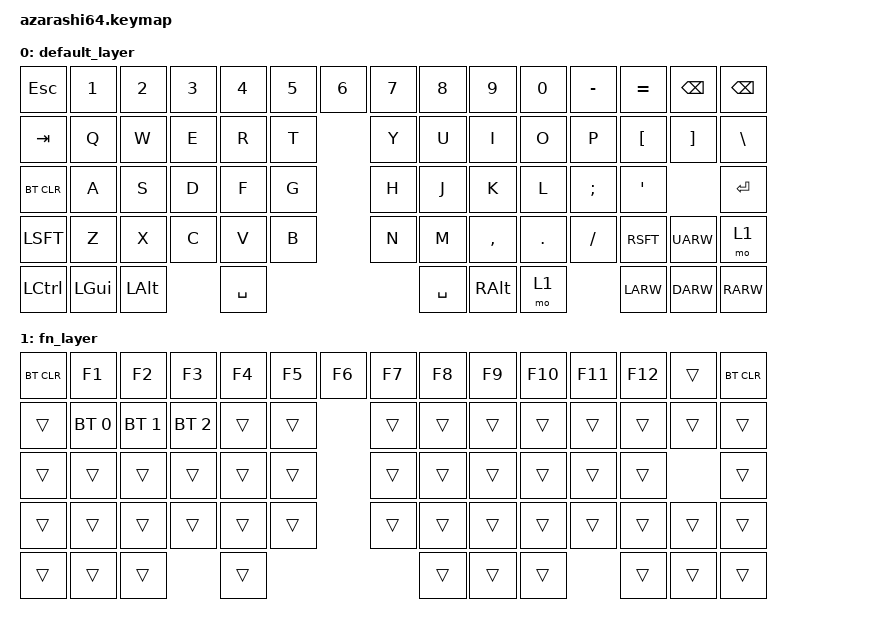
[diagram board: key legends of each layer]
/*
 * Copyright (c) 2020 The ZMK Contributors
 *
 * SPDX-License-Identifier: MIT
 */

#include <behaviors.dtsi>
#include <dt-bindings/zmk/bt.h>
#include <dt-bindings/zmk/keys.h>

/ {
    keymap {
        compatible = "zmk,keymap";

// ----------------------------------------------      ----------------------------------------------
// | ESC  |  1   |  2  |  3   |  4  |  5  |  6  |      |  7  |  8  |  9  |  0  |  -  |  =  |  BKSPC |
// | TAB   |  Q   |  W  |  E   |  R  |  T  |        |  Y  |  U  |  I  |  O  |  P  |  [  |  ]  |  \  |
// | LCTRL  |  A   |  S  |  D   |  F  |  G  |        |  H  |  J  |  K  |  L  |  ;  |  '  |   ENTER  |
// | SHIFT   |  Z   |  X  |  C  |  V   |  B  |        |  N  |  M  |  ,  |  .  |  /  |  RSHFT  |  UP |
// | LCTRL   | LGUI | LALT    |     SPACE    |        |    SPACE    | RALT | FN | RCTRL | LFT | DWN |
// -------------------------------------------        -----------------------------------------------

        default_layer {
            bindings = <
    &kp ESC  &kp NUM_1 &kp NUM_2 &kp NUM_3 &kp NUM_4 &kp NUM_5 &kp NUM_6  /**/  &kp NUM_7 &kp NUM_8 &kp NUM_9 &kp NUM_0 &kp MINUS &kp EQL  &kp BKSP &kp BKSP 
    &kp TAB  &kp Q     &kp W     &kp E     &kp R     &kp T                /**/  &kp Y     &kp U     &kp I     &kp O     &kp P     &kp LBKT &kp RBKT &kp BSLH
    &bt BT_CLR &kp A     &kp S     &kp D     &kp F     &kp G                /**/  &kp H     &kp J     &kp K     &kp L     &kp SCLN  &kp QUOT          &kp RET   
    &kp LSFT &kp Z     &kp X     &kp C     &kp V     &kp B                /**/  &kp N     &kp M     &kp CMMA  &kp DOT   &kp FSLH  &kp RSFT &kp UARW &mo 1 
    &kp LCTL &kp LGUI  &kp LALT            &kp SPC                        /**/            &kp SPC   &kp RALT  &mo 1               &kp LARW &kp DARW &kp RARW
            >;
        };

// ----------------------------------------------     ----------------------------------------------
// |BT_CLR|  F1  |  F2 |  F3  |  F4 |  F5 |  F6 |     |  F7 |  F8 |  F9 | F10 | F11 | F12 |        | 
// |       | BT-0 | BT-1| BT-2 |     |     |       |     |     |     |     |     |     |     |     |
// |        |      |     |      |     |     |       |     |     |     |     |     |     |          |
// |         |      |     |     |      |     |       |     |     |     |     |     |         |     |
// |         |      |      |           |     |       |             |      |    |       |     |     |
// -------------------------------------------       -----------------------------------------------

        fn_layer {
            bindings = <
    &bt BT_CLR &kp F1       &kp F2       &kp F3       &kp F4 &kp F5 &kp F6 /**/ &kp F7 &kp F8 &kp F9 &kp F10 &kp F11 &kp F12 &trans &bt BT_CLR
    &trans     &bt BT_SEL 0 &bt BT_SEL 1 &bt BT_SEL 2 &trans &trans        /**/ &trans &trans &trans &trans  &trans  &trans  &trans &trans
    &trans     &trans       &trans       &trans       &trans &trans        /**/ &trans &trans &trans &trans  &trans  &trans         &trans
    &trans     &trans       &trans       &trans       &trans &trans        /**/ &trans &trans &trans &trans  &trans  &trans  &trans &trans
    &trans     &trans       &trans                    &trans               /**/        &trans &trans &trans          &trans  &trans &trans       
            >;
        };
    };
};
